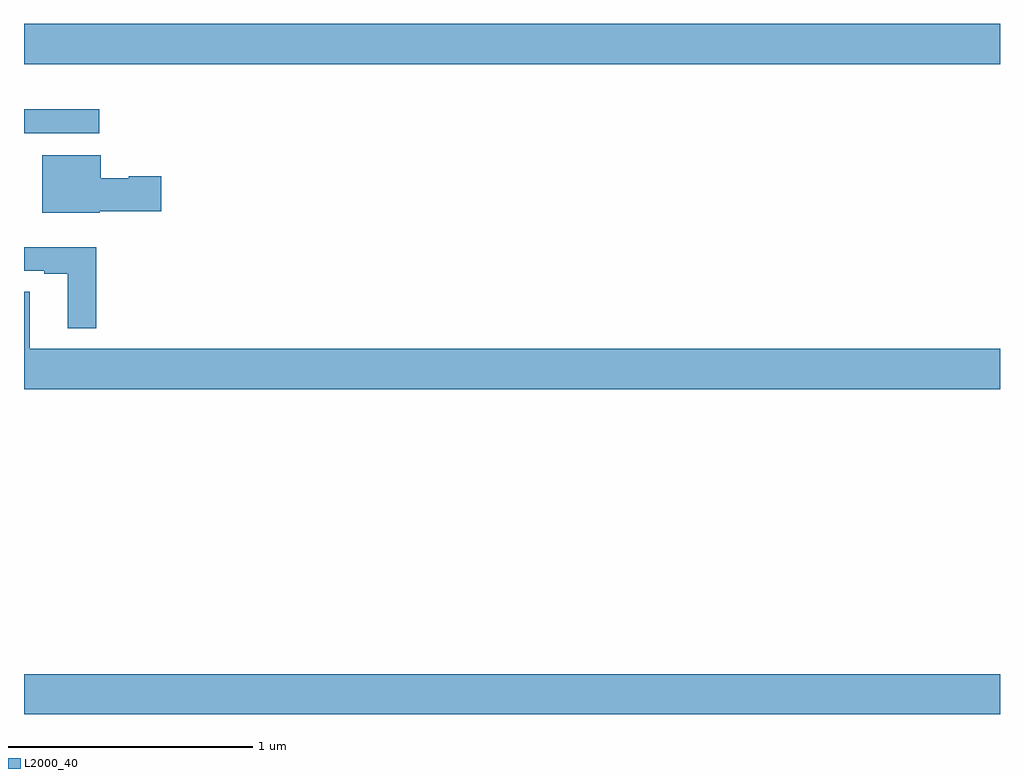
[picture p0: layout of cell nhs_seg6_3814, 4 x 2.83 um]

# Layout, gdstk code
import gdstk
lib = gdstk.Library(unit=1e-6, precision=1e-09)
def R(c, l, rs):  # rectangles x0, y0, x1, y1
    for r in rs: c.add(gdstk.rectangle(r[:2], r[2:], *l))
def P(c, l, *ps):  # polygons
    for p in ps: c.add(gdstk.Polygon(p, *l))
L2000_40 = (2000, 40)

nhs_seg6_3814 = lib.new_cell('nhs_seg6_3814')
R(nhs_seg6_3814, L2000_40, [(335,981.968,339,982.132), (335,984.348,335.308,984.446), (335,984.632,339,984.796)])
P(nhs_seg6_3814, L2000_40, [(335.31,984.029),(335.563,984.029),(335.563,984.171),(335.43,984.171),(335.43,984.163),(335.314,984.163),(335.314,984.259),(335.075,984.259),(335.075,984.023),(335.31,984.023)],
  [(335.297,983.881),(335,983.881),(335,983.784),(335.084,983.784),(335.084,983.772),(335.18,983.772),(335.18,983.549),(335.297,983.549)],
  [(339,983.464),(335.023,983.464),(335.023,983.699),(335,983.699),(335,983.3),(339,983.3)])

lib.write_gds('nhs_seg6_3814.gds')
